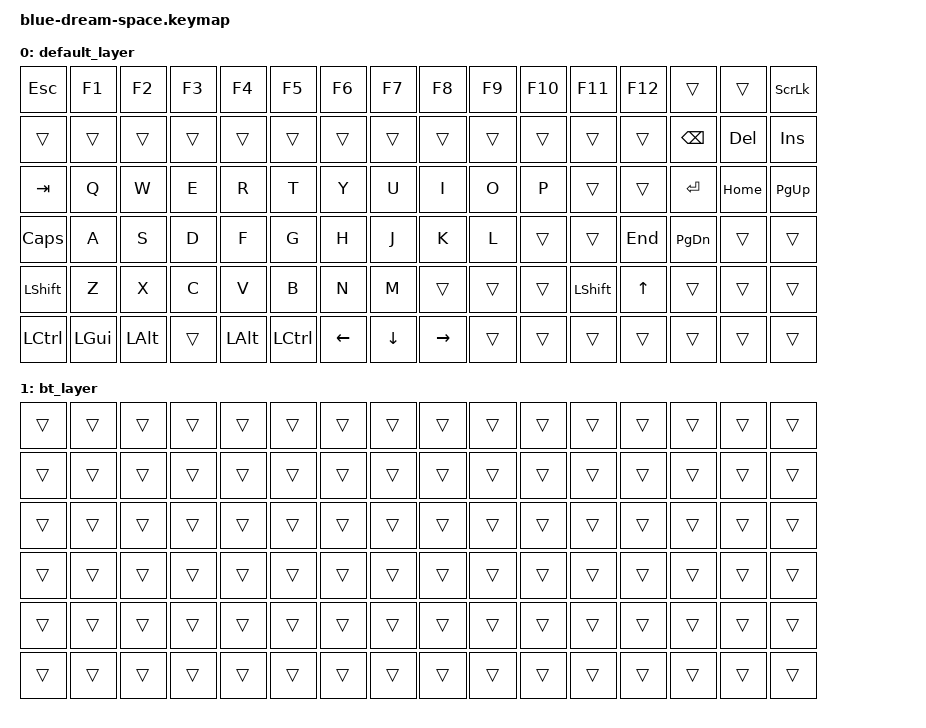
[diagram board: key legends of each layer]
/*
 * blue-dream-space - ZMK Keymap
 * Generated by Keybuild
 */

#include <behaviors.dtsi>
#include <dt-bindings/zmk/keys.h>
#include <dt-bindings/zmk/bt.h>

/ {
    keymap {
        compatible = "zmk,keymap";

        default_layer {
            bindings = <
                &kp ESC &kp F1 &kp F2 &kp F3 &kp F4 &kp F5 &kp F6 &kp F7 &kp F8 &kp F9 &kp F10 &kp F11 &kp F12 &trans &trans &kp SLCK
                &trans &trans &trans &trans &trans &trans &trans &trans &trans &trans &trans &trans &trans &kp BSPC &kp DEL &kp INS
                &kp TAB &kp Q &kp W &kp E &kp R &kp T &kp Y &kp U &kp I &kp O &kp P &trans &trans &kp RET &kp HOME &kp PG_UP
                &kp CAPS &kp A &kp S &kp D &kp F &kp G &kp H &kp J &kp K &kp L &trans &trans &kp END &kp PG_DN &trans &trans
                &kp LSHIFT &kp Z &kp X &kp C &kp V &kp B &kp N &kp M &trans &trans &trans &kp LSHIFT &kp UP &trans &trans &trans
                &kp LCTRL &kp LGUI &kp LALT &trans &kp LALT &kp LCTRL &kp LEFT &kp DOWN &kp RIGHT &trans &trans &trans &trans &trans &trans &trans
            >;
        };
        bt_layer {
            bindings = <
                &trans &trans &trans &trans &trans &trans &trans &trans &trans &trans &trans &trans &trans &trans &trans &trans
                &trans &trans &trans &trans &trans &trans &trans &trans &trans &trans &trans &trans &trans &trans &trans &trans
                &trans &trans &trans &trans &trans &trans &trans &trans &trans &trans &trans &trans &trans &trans &trans &trans
                &trans &trans &trans &trans &trans &trans &trans &trans &trans &trans &trans &trans &trans &trans &trans &trans
                &trans &trans &trans &trans &trans &trans &trans &trans &trans &trans &trans &trans &trans &trans &trans &trans
                &trans &trans &trans &trans &trans &trans &trans &trans &trans &trans &trans &trans &trans &trans &trans &trans
            >;
        };
    };
};
